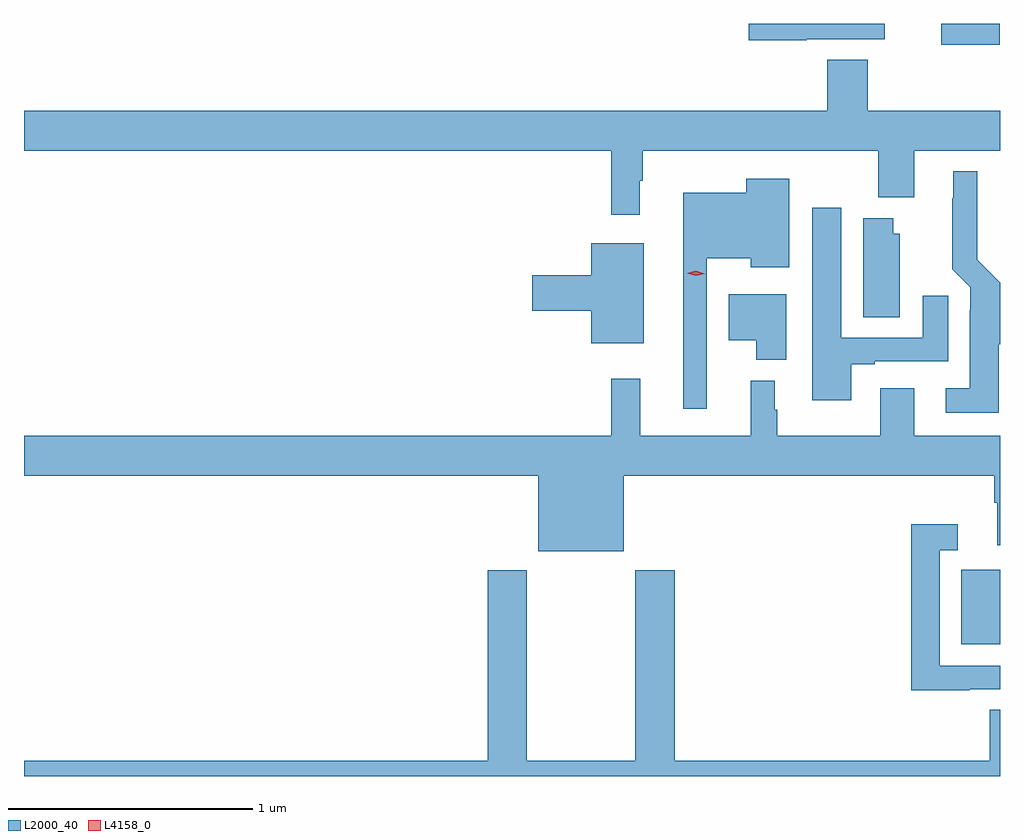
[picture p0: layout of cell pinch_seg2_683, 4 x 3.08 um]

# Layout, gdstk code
import gdstk
lib = gdstk.Library(unit=1e-6, precision=1e-09)
def R(c, l, rs):  # rectangles x0, y0, x1, y1
    for r in rs: c.add(gdstk.rectangle(r[:2], r[2:], *l))
def P(c, l, *ps):  # polygons
    for p in ps: c.add(gdstk.Polygon(p, *l))
L2000_40 = (2000, 40)
L4158_0 = (4158, 0)

pinch_seg2_683 = lib.new_cell('pinch_seg2_683')
R(pinch_seg2_683, L2000_40, [(1085.954,584.34,1086.112,584.647), (1085.871,586.798,1086.11,586.884)])
P(pinch_seg2_683, L2000_40, [(1085.321,586.821),(1085.64,586.821),(1085.64,586.884),(1085.083,586.884),(1085.083,586.816),(1085.321,586.816)],
  [(1082.112,586.364),(1084.519,586.364),(1084.519,586.101),(1084.636,586.101),(1084.636,586.241),(1084.648,586.241),(1084.648,586.364),(1085.614,586.364),(1085.614,586.172),(1085.761,586.172),(1085.761,586.364),(1086.112,586.364),(1086.112,586.528),(1085.57,586.528),(1085.57,586.736),(1085.405,586.736),(1085.405,586.528),(1082.112,586.528)],
  [(1086.106,585.57),(1086.112,585.57),(1086.112,585.823),(1086.019,585.916),(1086.019,586.279),(1085.921,586.279),(1085.921,586.169),(1085.917,586.169),(1085.917,585.878),(1085.991,585.804),(1085.991,585.71),(1085.987,585.71),(1085.987,585.391),(1085.889,585.391),(1085.889,585.29),(1086.106,585.29)],
  [(1084.911,585.923),(1085.09,585.923),(1085.09,585.887),(1085.248,585.887),(1085.248,586.249),(1085.073,586.249),(1085.073,586.192),(1084.814,586.192),(1084.814,585.306),(1084.911,585.306)],
  [(1085.503,585.489),(1085.599,585.489),(1085.599,585.501),(1085.899,585.501),(1085.899,585.769),(1085.795,585.769),(1085.795,585.597),(1085.461,585.597),(1085.461,586.129),(1085.342,586.129),(1085.342,585.342),(1085.503,585.342)],
  [(1085.701,586.023),(1085.674,586.023),(1085.674,586.087),(1085.552,586.087),(1085.552,585.682),(1085.701,585.682)],
  [(1084.651,585.985),(1084.436,585.985),(1084.436,585.854),(1084.194,585.854),(1084.194,585.707),(1084.436,585.707),(1084.436,585.575),(1084.651,585.575)],
  [(1085.236,585.775),(1085,585.775),(1085,585.587),(1085.114,585.587),(1085.114,585.506),(1085.236,585.506)],
  [(1084.57,585.032),(1086.089,585.032),(1086.089,584.92),(1086.101,584.92),(1086.101,584.746),(1086.112,584.746),(1086.112,585.196),(1085.761,585.196),(1085.761,585.391),(1085.621,585.391),(1085.621,585.196),(1085.2,585.196),(1085.2,585.303),(1085.188,585.303),(1085.188,585.421),(1085.09,585.421),(1085.09,585.196),(1084.637,585.196),(1084.637,585.43),(1084.519,585.43),(1084.519,585.196),(1082.112,585.196),(1082.112,585.032),(1084.22,585.032),(1084.22,584.723),(1084.57,584.723)],
  [(1085.987,584.157),(1086.112,584.157),(1086.112,584.253),(1085.865,584.253),(1085.865,584.727),(1085.938,584.727),(1085.938,584.833),(1085.749,584.833),(1085.749,584.152),(1085.987,584.152)],
  [(1086.112,584.072),(1086.071,584.072),(1086.071,583.864),(1084.778,583.864),(1084.778,584.644),(1084.618,584.644),(1084.618,583.864),(1084.173,583.864),(1084.173,584.644),(1084.013,584.644),(1084.013,583.864),(1082.112,583.864),(1082.112,583.8),(1086.112,583.8)])
P(pinch_seg2_683, L4158_0, [(1084.865,585.851),(1084.83,585.862),(1084.829,585.862),(1084.83,585.862),(1084.866,585.871),(1084.901,585.859),(1084.901,585.859),(1084.901,585.859)])

lib.write_gds('pinch_seg2_683.gds')
